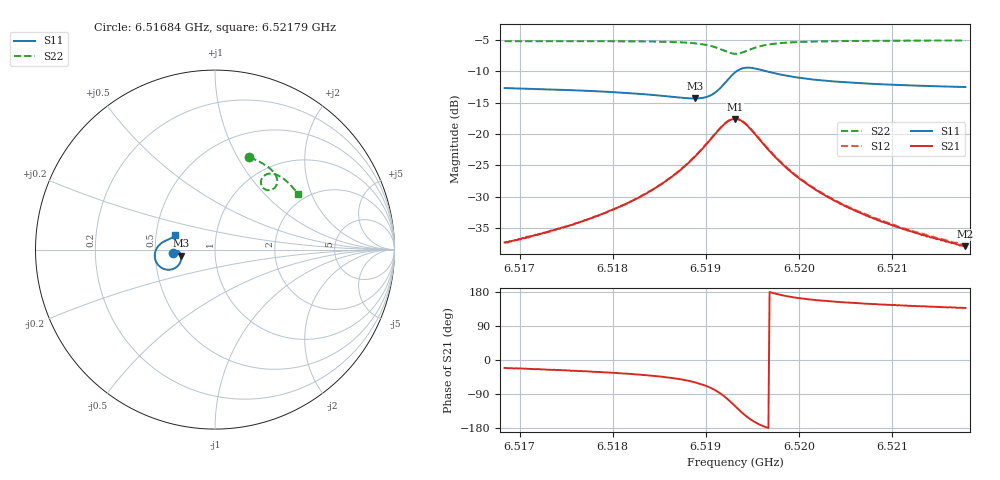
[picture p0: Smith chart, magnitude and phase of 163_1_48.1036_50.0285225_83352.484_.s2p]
#  HZ  S  RI  R  50.00
! Rohde & Schwarz Vector Network Analyzer
! Rohde-Schwarz,ZNB20-2Port,1311601062101988,3.16
! Created: UTC 12/23/2023, 3:50:59 AM
! freq[Hz]  re:S11  im:S11  re:S21  im:S21  re:S12  im:S12  re:S22  im:S22
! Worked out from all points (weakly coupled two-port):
!   401 points, 6.51684 GHz to 6.52179 GHz, reference 50 ohm
!   highest |S21| = -17.59 dB at 6.519315 GHz (marker M1); lowest = -37.9 dB at 6.52179 GHz (marker M2)
!   lowest |S11| = -14.3 dB at 6.518882 GHz (marker M3), VSWR 1.47, Z = 34 - j2.44 ohm
!   |S11| at or under -10 dB: start of sweep to 6.519332 GHz; 6.519652 GHz to end of sweep
!   |S22| runs from -7.2 to -5.1 dB; largest |S21 - S12| = 0.004
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6.5168399e9  -0.2313 -0.02  0.0128 -0.00489  0.0129 -0.00443  0.1921 0.5132
6.5173101e9  -0.2265 -0.013  0.0151 -0.00719  0.0152 -0.00657  0.2268 0.4993
6.517669e9  -0.2216 -0.00867  0.0176 -0.00979  0.0179 -0.00926  0.2533 0.4865
6.5181516e9  -0.2124 -0.00596  0.0225 -0.0164  0.0231 -0.0159  0.2895 0.4644
6.5184982e9  -0.2026 -0.00983  0.0282 -0.0265  0.0291 -0.0259  0.3164 0.4425
6.5186962e9  -0.1951 -0.0178  0.0321 -0.0376  0.0334 -0.0368  0.3316 0.4248
6.5188818e9  -0.1888 -0.0346  0.0342 -0.0562  0.0361 -0.0555  0.3439 0.4005
6.5189932e9  -0.1885 -0.0532  0.0312 -0.0745  0.0337 -0.0739  0.347 0.38
6.5190798e9  -0.195 -0.0737  0.0221 -0.0934  0.0251 -0.0932  0.3427 0.3601
6.5192159e9  -0.2356 -0.1085  -0.0196 -0.1209  -0.016 -0.1225  0.312 0.3323
6.5192654e9  -0.2623 -0.1123  -0.0443 -0.1217  -0.041 -0.1239  0.2931 0.3309
6.5193149e9  -0.291 -0.1052  -0.069 -0.1125  -0.0664 -0.1154  0.2742 0.3385
6.5193644e9  -0.315 -0.0876  -0.0887 -0.0944  -0.0865 -0.0978  0.261 0.3538
6.5194263e9  -0.3323 -0.0574  -0.1006 -0.0664  -0.0994 -0.07  0.2558 0.3766
6.5195377e9  -0.3318 -0.00896  -0.095 -0.0252  -0.095 -0.0282  0.2698 0.408
6.519649e9  -0.3161 0.0195  -0.0784 -0.00348  -0.0791 -0.00581  0.2923 0.4211
6.5198842e9  -0.2866 0.044  -0.0512 0.011  -0.0522 0.00966  0.3306 0.4211
6.5201441e9  -0.2669 0.0535  -0.035 0.0134  -0.0359 0.0125  0.3594 0.4092
6.5205153e9  -0.2505 0.0607  -0.0231 0.0125  -0.0239 0.012  0.3895 0.3886
6.5209732e9  -0.2382 0.0674  -0.0158 0.0109  -0.0164 0.0106  0.4186 0.3617
6.521394e9  -0.2299 0.0733  -0.0119 0.00965  -0.0123 0.00936  0.4415 0.3362
6.52179e9  -0.2232 0.0787  -0.00942 0.00866  -0.00978 0.00859  0.4605 0.3118
